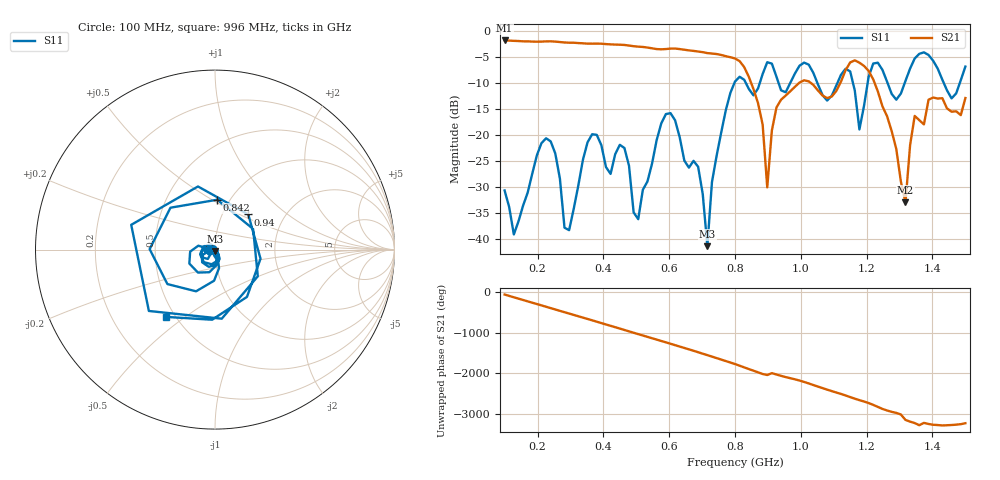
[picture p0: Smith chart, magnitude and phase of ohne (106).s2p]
! NanoVNA-App
! Date: 2025-09-25 14:21:37
! Start: 100MHz Stop: 1,5GHz Points: 101
! S-Parameter data: F S11 S21 S12 S22
# Hz S RI R 50
!  Frequency  S11_Real  S11_Imag  S21_Real  S21_Imag  S12_Real  S12_Imag  S22_Real  S22_Imag
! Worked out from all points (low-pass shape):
!   101 points, 100 MHz to 1.5 GHz, reference 50 ohm
!   highest |S21| = -1.79 dB at 100 MHz (marker M1); lowest = -32.9 dB at 1.318 GHz (marker M2)
!   |S21| within 3 dB of the highest: start of sweep to 770.7 MHz
!   lowest |S11| = -41.3 dB at 716 MHz (marker M3), VSWR 1.02, Z = 49.8 - j0.833 ohm
!   |S11| at or under -10 dB: start of sweep to 798 MHz; 833.1 MHz to 875.2 MHz (42.03 MHz wide, 4.92 % of centre); 1.05 GHz to 1.111 GHz (60.5 MHz wide, 5.6 % of centre) (the widest 3 of 7)
!   S12 and S22 are empty: the file has one direction only
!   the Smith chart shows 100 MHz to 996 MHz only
!   S11 on the Smith chart (normalised r, x): 100 MHz: 0.94, -0.01; 842 MHz: 0.88, +0.53; 940 MHz: 1.32, +0.56; 996 MHz: 0.44, -0.42
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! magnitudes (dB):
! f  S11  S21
! 100 MHz  -30.6  -1.8
! 128 MHz  -39.1  -1.9
! 226 MHz  -20.6  -2.0
! 296 MHz  -38.3  -2.2
! 338 MHz  -24.7  -2.3
! 464 MHz  -22.5  -2.7
! 506 MHz  -36.2  -3.0
! 576 MHz  -17.7  -3.5
! 688 MHz  -26.1  -3.9
! 716 MHz  -41.3  -4.2
! 800 MHz  -9.7  -5.3
! 842 MHz  -11.1  -8.8
! 898 MHz  -6.0  -30.0
! 940 MHz  -11.4  -13.2
! 996 MHz  -6.7  -9.9
! 1.038 GHz  -8.0  -10.3
! 1.178 GHz  -18.9  -6.1
! 1.22 GHz  -6.2  -9.3
! 1.276 GHz  -12.1  -19.2
! 1.318 GHz  -9.6  -32.9
! 1.346 GHz  -5.3  -16.3
! 1.5 GHz  -6.8  -12.9
